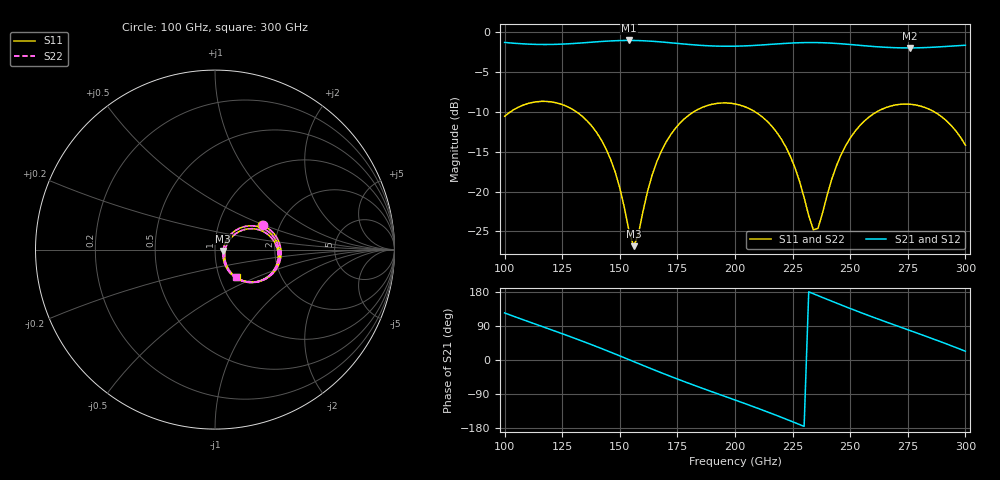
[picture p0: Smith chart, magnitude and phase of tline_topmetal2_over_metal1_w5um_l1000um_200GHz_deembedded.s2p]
! Created with skrf 2.2.0 (http://scikit-rf.org).
# GHz S DB R 50.0
! Port[1] = P1
! Port[2] = P2
!freq dBS11 angS11 dBS21 angS21 dBS12 angS12 dBS22 angS22
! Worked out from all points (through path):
!   101 points, 100 GHz to 300 GHz, reference 50 ohm
!   highest |S21| = -1.01 dB at 154 GHz (marker M1); lowest = -1.9 dB at 276 GHz (marker M2)
!   group delay of S21, straight-line fit = 6.45 ps
!   lowest |S11| = -26.8 dB at 156 GHz (marker M3), VSWR 1.10, Z = 54.7 - j0.877 ohm
!   |S11| at or under -10 dB: 131.3 GHz to 182 GHz (50.69 GHz wide, 32.4 % of centre); 208.8 GHz to 261.4 GHz (52.62 GHz wide, 22.4 % of centre); 286.6 GHz to end of sweep (the widest 3 of 4)
!   |S22| runs from -26.9 to -8.7 dB; largest |S21 - S12| = 1e-13
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100  -10.54 27.1  -1.26 124.2  -1.26 124.2  -10.54 27.0
118  -8.67 -7.4  -1.52 84.7  -1.52 84.7  -8.67 -7.6
134  -10.61 -37.9  -1.31 49.2  -1.31 49.2  -10.61 -38.1
146  -15.94 -56.8  -1.07 20.7  -1.07 20.7  -15.94 -57.0
154  -24.93 -38.7  -1.01 0.9  -1.01 0.9  -24.95 -38.9
156  -26.85 -10.1  -1.02 -4.1  -1.02 -4.1  -26.88 -10.3
164  -17.95 44.0  -1.11 -23.9  -1.11 -23.9  -17.96 44.0
168  -14.94 41.3  -1.20 -33.6  -1.20 -33.6  -14.95 41.2
184  -9.66 14.2  -1.60 -70.6  -1.60 -70.6  -9.66 14.1
200  -8.98 -15.6  -1.73 -105.5  -1.73 -105.5  -8.99 -15.8
210  -10.22 -33.9  -1.61 -127.7  -1.61 -127.7  -10.22 -34.1
220  -13.35 -50.3  -1.42 -150.9  -1.42 -150.9  -13.36 -50.6
226  -16.97 -55.4  -1.32 -165.4  -1.32 -165.4  -16.99 -55.8
234  -24.79 -19.8  -1.28 174.9  -1.28 174.9  -24.89 -20.0
236  -24.62 5.7  -1.28 170.0  -1.28 170.0  -24.71 5.8
244  -16.78 37.6  -1.39 150.3  -1.39 150.3  -16.79 37.7
250  -13.28 32.2  -1.52 135.9  -1.52 135.9  -13.28 32.2
258  -10.67 19.4  -1.72 117.4  -1.72 117.4  -10.67 19.3
268  -9.22 1.5  -1.91 95.1  -1.91 95.1  -9.22 1.4
276  -9.02 -13.0  -1.95 77.7  -1.95 77.7  -9.02 -13.2
288  -10.25 -34.4  -1.83 51.1  -1.83 51.1  -10.25 -34.6
300  -14.16 -52.3  -1.61 23.2  -1.61 23.2  -14.17 -52.6
